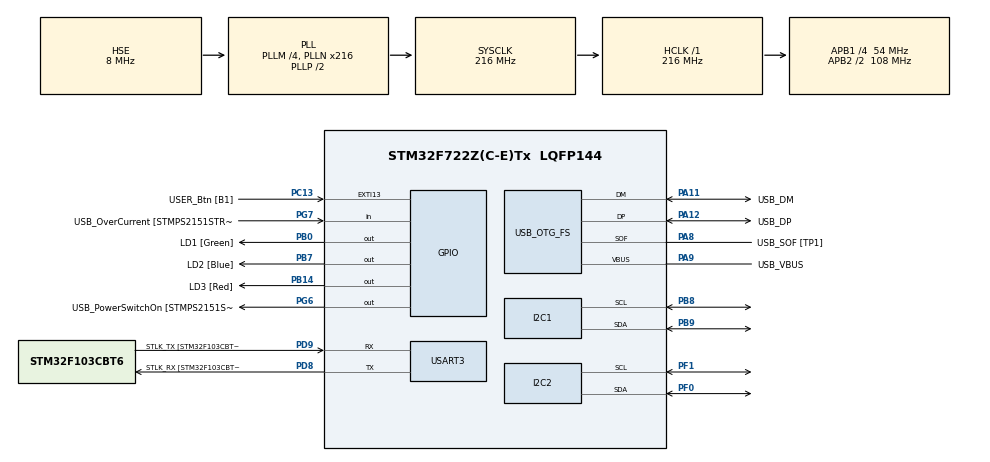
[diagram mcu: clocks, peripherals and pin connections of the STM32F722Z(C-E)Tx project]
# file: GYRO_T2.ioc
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Dma.I2C1_RX.0.Direction=DMA_PERIPH_TO_MEMORY
Dma.I2C1_RX.0.FIFOMode=DMA_FIFOMODE_DISABLE
Dma.I2C1_RX.0.Instance=DMA1_Stream0
Dma.I2C1_RX.0.MemDataAlignment=DMA_MDATAALIGN_BYTE
Dma.I2C1_RX.0.MemInc=DMA_MINC_DISABLE
Dma.I2C1_RX.0.Mode=DMA_CIRCULAR
Dma.I2C1_RX.0.PeriphDataAlignment=DMA_PDATAALIGN_BYTE
Dma.I2C1_RX.0.PeriphInc=DMA_PINC_DISABLE
Dma.I2C1_RX.0.Priority=DMA_PRIORITY_LOW
Dma.I2C1_TX.1.Direction=DMA_MEMORY_TO_PERIPH
Dma.I2C1_TX.1.FIFOMode=DMA_FIFOMODE_DISABLE
Dma.I2C1_TX.1.Instance=DMA1_Stream6
Dma.I2C1_TX.1.MemDataAlignment=DMA_MDATAALIGN_BYTE
Dma.I2C1_TX.1.MemInc=DMA_MINC_DISABLE
Dma.I2C1_TX.1.Mode=DMA_CIRCULAR
Dma.I2C1_TX.1.PeriphDataAlignment=DMA_PDATAALIGN_BYTE
Dma.I2C1_TX.1.PeriphInc=DMA_PINC_DISABLE
Dma.I2C1_TX.1.Priority=DMA_PRIORITY_LOW
Dma.I2C2_RX.2.Direction=DMA_PERIPH_TO_MEMORY
Dma.I2C2_RX.2.FIFOMode=DMA_FIFOMODE_DISABLE
Dma.I2C2_RX.2.Instance=DMA1_Stream2
Dma.I2C2_RX.2.MemDataAlignment=DMA_MDATAALIGN_BYTE
Dma.I2C2_RX.2.MemInc=DMA_MINC_ENABLE
Dma.I2C2_RX.2.Mode=DMA_CIRCULAR
Dma.I2C2_RX.2.PeriphDataAlignment=DMA_PDATAALIGN_BYTE
Dma.I2C2_RX.2.PeriphInc=DMA_PINC_DISABLE
Dma.I2C2_RX.2.Priority=DMA_PRIORITY_LOW
Dma.I2C2_TX.3.Direction=DMA_MEMORY_TO_PERIPH
Dma.I2C2_TX.3.FIFOMode=DMA_FIFOMODE_DISABLE
Dma.I2C2_TX.3.Instance=DMA1_Stream7
Dma.I2C2_TX.3.MemDataAlignment=DMA_MDATAALIGN_BYTE
Dma.I2C2_TX.3.MemInc=DMA_MINC_ENABLE
Dma.I2C2_TX.3.Mode=DMA_CIRCULAR
Dma.I2C2_TX.3.PeriphDataAlignment=DMA_PDATAALIGN_BYTE
Dma.I2C2_TX.3.PeriphInc=DMA_PINC_DISABLE
Dma.I2C2_TX.3.Priority=DMA_PRIORITY_LOW
Dma.Request0=I2C1_RX
Dma.Request1=I2C1_TX
Dma.Request2=I2C2_RX
Dma.Request3=I2C2_TX
I2C1.Timing=0x20404768
I2C2.Timing=0x20404768
Mcu.Family=STM32F7
Mcu.Name=STM32F722Z(C-E)Tx
Mcu.Package=LQFP144
NVIC.DMA1_Stream0_IRQn=true\:0\:0\:false\:false\:true\:false\:true\:true
NVIC.DMA1_Stream2_IRQn=true\:0\:0\:false\:false\:true\:false\:true\:true
NVIC.DMA1_Stream6_IRQn=true\:0\:0\:false\:false\:true\:false\:true\:true
NVIC.DMA1_Stream7_IRQn=true\:0\:0\:false\:false\:true\:false\:true\:true
NVIC.PriorityGroup=NVIC_PRIORITYGROUP_4
PA10.GPIO_Label=USB_ID
PA10.Signal=USB_OTG_FS_ID
PA11.GPIO_Label=USB_DM
PA11.Mode=Device_Only
PA11.Signal=USB_OTG_FS_DM
PA12.GPIO_Label=USB_DP
PA12.Mode=Device_Only
PA12.Signal=USB_OTG_FS_DP
PA13.GPIO_Label=TMS
PA13.Mode=Serial_Wire
PA13.Signal=SYS_JTMS-SWDIO
PA14.GPIO_Label=TCK
PA14.Mode=Serial_Wire
PA14.Signal=SYS_JTCK-SWCLK
PA8.GPIO_Label=USB_SOF [TP1]
PA8.Mode=Activate_SOF_FS
PA8.Signal=USB_OTG_FS_SOF
PA9.GPIO_Label=USB_VBUS
PA9.Mode=Activate_VBUS
PA9.Signal=USB_OTG_FS_VBUS
PB0.GPIO_Label=LD1 [Green]
PB0.Signal=GPIO_Output
PB14.GPIO_Label=LD3 [Red]
PB14.Signal=GPIO_Output
PB3.GPIO_Label=SWO
PB3.Signal=SYS_JTDO-SWO
PB7.GPIO_Label=LD2 [Blue]
PB7.Signal=GPIO_Output
PB8.Mode=I2C
PB8.Signal=I2C1_SCL
PB9.Mode=I2C
PB9.Signal=I2C1_SDA
PC13.GPIO_Label=USER_Btn [B1]
PC13.Signal=GPXTI13
PC14-OSC32_IN.Mode=LSE-External-Oscillator
PC14-OSC32_IN.Signal=RCC_OSC32_IN
PC15-OSC32_OUT.Mode=LSE-External-Oscillator
PC15-OSC32_OUT.Signal=RCC_OSC32_OUT
PD8.GPIO_Label=STLK_RX [STM32F103CBT6_PA3]
PD8.Mode=Asynchronous
PD8.Signal=USART3_TX
PD9.GPIO_Label=STLK_TX [STM32F103CBT6_PA2]
PD9.Mode=Asynchronous
PD9.Signal=USART3_RX
PF0.Mode=I2C
PF0.Signal=I2C2_SDA
PF1.Mode=I2C
PF1.Signal=I2C2_SCL
PG6.GPIO_Label=USB_PowerSwitchOn [STMPS2151STR_EN]
PG6.Signal=GPIO_Output
PG7.GPIO_Label=USB_OverCurrent [STMPS2151STR_FAULT]
PG7.Signal=GPIO_Input
PH0-OSC_IN.GPIO_Label=MCO
PH0-OSC_IN.Mode=HSE-External-Clock-Source
PH0-OSC_IN.Signal=RCC_OSC_IN
PH1-OSC_OUT.Mode=HSE-External-Clock-Source
PH1-OSC_OUT.Signal=RCC_OSC_OUT
ProjectManager.HeapSize=0x200
ProjectManager.StackSize=0x400
ProjectManager.TargetToolchain=STM32CubeIDE
RCC.48MHZClocksFreq_Value=24000000
RCC.AHBFreq_Value=216000000
RCC.APB1CLKDivider=RCC_HCLK_DIV4
RCC.APB1Freq_Value=54000000
RCC.APB1TimFreq_Value=108000000
RCC.APB2CLKDivider=RCC_HCLK_DIV2
RCC.APB2Freq_Value=108000000
RCC.APB2TimFreq_Value=216000000
RCC.CortexFreq_Value=216000000
RCC.HCLKFreq_Value=216000000
RCC.HSE_VALUE=8000000
RCC.HSI_VALUE=16000000
RCC.PLLM=4
RCC.PLLMUL=RCC_PLL_MUL9
RCC.PLLN=216
RCC.PLLQ=9
RCC.PRESCALERUSB=RCC_USBCLKSOURCE_PLL_DIV1_5
RCC.SYSCLKFreq_VALUE=216000000
RCC.SYSCLKSource=RCC_SYSCLKSOURCE_PLLCLK
RCC.SYSCLKSourceVirtual=RCC_SYSCLKSOURCE_PLLCLK
RCC.USBFreq_Value=48000000
RCC.VCOOutputFreq_Value=432000000
USART3.VirtualMode-Asynchronous=VM_ASYNC
USB_OTG_FS.VirtualMode=Device_Only
board=NUCLEO-F722ZE

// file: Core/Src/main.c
/* USER CODE BEGIN Header */
/**
  ******************************************************************************
  * @file           : main.c
  * @brief          : Main program body
  ******************************************************************************
  * @attention
  *
  * Copyright (c) 2023 STMicroelectronics.
  * All rights reserved.
  *
  * This software is licensed under terms that can be found in the LICENSE file
  * in the root directory of this software component.
  * If no LICENSE file comes with this software, it is provided AS-IS.
  *
  ******************************************************************************
  */
/* USER CODE END Header */
#include "main.h"

/* USER CODE BEGIN Includes */
#include <stdio.h>
/* USER CODE END Includes */

I2C_HandleTypeDef hi2c1;
I2C_HandleTypeDef hi2c2;
DMA_HandleTypeDef hdma_i2c1_rx;
DMA_HandleTypeDef hdma_i2c1_tx;
DMA_HandleTypeDef hdma_i2c2_rx;
DMA_HandleTypeDef hdma_i2c2_tx;

UART_HandleTypeDef huart3;

PCD_HandleTypeDef hpcd_USB_OTG_FS;

/* USER CODE BEGIN PV */
uint8_t i2c_dat[10];

/* USER CODE END PV */

void SystemClock_Config(void);
static void MX_GPIO_Init(void);
static void MX_DMA_Init(void);
static void MX_USB_OTG_FS_PCD_Init(void);
static void MX_USART3_UART_Init(void);
static void MX_I2C1_Init(void);
static void MX_I2C2_Init(void);
/* USER CODE BEGIN PFP */
#define MPU6050_ADDR		0xD0

#define SMPLRT_DIV_REG		0x19
#define GYRO_CONFIG_REG		0x1B
#define ACCEL_CONFIG_REG	0x1C
#define ACCEL_XOUT_H_REG	0x3B
#define TEMP_OUT_H_REG		0x41
#define GYRO_XOUT_H_REG		0x43
#define PWR_MGMT_1_REG		0x6B
#define WHO_AM_I_REG		0x75

/* USER CODE END PFP */

int main(void)
{

  /* MCU Configuration--------------------------------------------------------*/

  /* Reset of all peripherals, Initializes the Flash interface and the Systick. */
  HAL_Init();

  /* Configure the system clock */
  SystemClock_Config();

  /* Initialize all configured peripherals */
  MX_GPIO_Init();
  MX_DMA_Init();
  MX_USB_OTG_FS_PCD_Init();
  MX_USART3_UART_Init();
  MX_I2C1_Init();
  MX_I2C2_Init();
  /* USER CODE BEGIN 2 */
  HAL_StatusTypeDef ret_val = HAL_ERROR;

  HAL_I2C_Mem_Read( &hi2c2, MPU6050_ADDR, WHO_AM_I_REG, 1, i2c_dat, 1, 1000 );

  if( i2c_dat[0] == 104 ){
	  ret_val = HAL_OK;
	  i2c_dat[0] = 0x00;
	  if( HAL_I2C_Mem_Write( &hi2c2, MPU6050_ADDR, PWR_MGMT_1_REG, 1, i2c_dat, 1, 1000 ) != HAL_OK ) ret_val = HAL_ERROR;
	  // set data rate of 1kHz
	  i2c_dat[0] = 0x07;
	  if( HAL_I2C_Mem_Write( &hi2c2, MPU6050_ADDR, SMPLRT_DIV_REG, 1, i2c_dat, 1, 1000 ) != HAL_OK ) ret_val = HAL_ERROR;
	  // set accel config
	  // XA_ST = 0, YA_ST = 0, ZA_ST = 0, FS_SEL = 0 -> +- 2g
	  i2c_dat[0] = 0x00;
	  if( HAL_I2C_Mem_Write( &hi2c2, MPU6050_ADDR, ACCEL_CONFIG_REG, 1, i2c_dat, 1, 1000 ) != HAL_OK ) ret_val = HAL_ERROR;
	  // set gyro config
	  // XG_ST = 0; YG_ST = 0; ZG_ST = 0; FS_SEL = 0 -> +- 250 o/s
	  i2c_dat[0] = 0x00;
	  if( HAL_I2C_Mem_Write( &hi2c2, MPU6050_ADDR, GYRO_XOUT_H_REG, 1, i2c_dat, 1, 1000 ) != HAL_OK ) ret_val = HAL_ERROR;
  }

  char _str[50];
  uint8_t _str_len;
  if( ret_val != HAL_OK ) _str_len = sprintf(_str, "\r\nFail to init MPY6050.\r\n" );
  else _str_len = sprintf(_str, "\r\nSuccess to init MPY6050.\r\n" );
  HAL_UART_Transmit( &huart3, (uint8_t *)_str, _str_len, 100 );
  /* USER CODE END 2 */

  /* Infinite loop */
  while (1)
  {

    /* USER CODE BEGIN 3 */
	  HAL_I2C_Mem_Read( &hi2c2, MPU6050_ADDR, ACCEL_XOUT_H_REG, 1, i2c_dat, 6, 1000 );

	  int16_t raw_x = (int16_t)( i2c_dat[0] << 8 | i2c_dat[1] );
	  int16_t raw_y = (int16_t)( i2c_dat[2] << 8 | i2c_dat[3] );
	  int16_t raw_z = (int16_t)( i2c_dat[4] << 8 | i2c_dat[5] );

	  float ax = (float)raw_x/16384.0;
	  float ay = (float)raw_y/16384.0;
	  float az = (float)raw_z/16384.0;

	  _str_len = sprintf(_str, "Accel: ax:%.3f  ay:%.3f  az:%.3f     ", ax, ay, az );
	  HAL_UART_Transmit( &huart3, (uint8_t *)_str, _str_len, 100 );

	  HAL_I2C_Mem_Read( &hi2c2, MPU6050_ADDR, GYRO_XOUT_H_REG, 1, i2c_dat, 6, 1000 );

	  raw_x = (int16_t)( i2c_dat[0] << 8 | i2c_dat[1] );
	  raw_y = (int16_t)( i2c_dat[2] << 8 | i2c_dat[3] );
	  raw_z = (int16_t)( i2c_dat[4] << 8 | i2c_dat[5] );

	  float gx = (float)raw_x/131.0;
	  float gy = (float)raw_y/131.0;
	  float gz = (float)raw_z/131.0;

	  _str_len = sprintf(_str, "Gyro: gx:%.3f  gy:%.3f  gz:%.3f  ", gx, gy, gz );
	  HAL_UART_Transmit( &huart3, (uint8_t *)_str, _str_len, 100 );

	  HAL_GPIO_TogglePin( GPIOB, LD3_Pin );
	  HAL_Delay( 100 );
  }
  /* USER CODE END 3 */
}

void SystemClock_Config(void)
{
  RCC_OscInitTypeDef RCC_OscInitStruct = {0};
  RCC_ClkInitTypeDef RCC_ClkInitStruct = {0};

  /** Configure LSE Drive Capability
  */
  HAL_PWR_EnableBkUpAccess();

  /** Configure the main internal regulator output voltage
  */
  __HAL_RCC_PWR_CLK_ENABLE();
  __HAL_PWR_VOLTAGESCALING_CONFIG(PWR_REGULATOR_VOLTAGE_SCALE1);

  /** Initializes the RCC Oscillators according to the specified parameters
  * in the RCC_OscInitTypeDef structure.
  */
  RCC_OscInitStruct.OscillatorType = RCC_OSCILLATORTYPE_HSE;
  RCC_OscInitStruct.HSEState = RCC_HSE_BYPASS;
  RCC_OscInitStruct.PLL.PLLState = RCC_PLL_ON;
  RCC_OscInitStruct.PLL.PLLSource = RCC_PLLSOURCE_HSE;
  RCC_OscInitStruct.PLL.PLLM = 4;
  RCC_OscInitStruct.PLL.PLLN = 216;
  RCC_OscInitStruct.PLL.PLLP = RCC_PLLP_DIV2;
  RCC_OscInitStruct.PLL.PLLQ = 9;
  if (HAL_RCC_OscConfig(&RCC_OscInitStruct) != HAL_OK)
  {
    Error_Handler();
  }

  /** Activate the Over-Drive mode
  */
  if (HAL_PWREx_EnableOverDrive() != HAL_OK)
  {
    Error_Handler();
  }

  /** Initializes the CPU, AHB and APB buses clocks
  */
  RCC_ClkInitStruct.ClockType = RCC_CLOCKTYPE_HCLK|RCC_CLOCKTYPE_SYSCLK
                              |RCC_CLOCKTYPE_PCLK1|RCC_CLOCKTYPE_PCLK2;
  RCC_ClkInitStruct.SYSCLKSource = RCC_SYSCLKSOURCE_PLLCLK;
  RCC_ClkInitStruct.AHBCLKDivider = RCC_SYSCLK_DIV1;
  RCC_ClkInitStruct.APB1CLKDivider = RCC_HCLK_DIV4;
  RCC_ClkInitStruct.APB2CLKDivider = RCC_HCLK_DIV2;

  if (HAL_RCC_ClockConfig(&RCC_ClkInitStruct, FLASH_LATENCY_7) != HAL_OK)
  {
    Error_Handler();
  }
}

static void MX_I2C1_Init(void)
{

  hi2c1.Instance = I2C1;
  hi2c1.Init.Timing = 0x20404768;
  hi2c1.Init.OwnAddress1 = 0;
  hi2c1.Init.AddressingMode = I2C_ADDRESSINGMODE_7BIT;
  hi2c1.Init.DualAddressMode = I2C_DUALADDRESS_DISABLE;
  hi2c1.Init.OwnAddress2 = 0;
  hi2c1.Init.OwnAddress2Masks = I2C_OA2_NOMASK;
  hi2c1.Init.GeneralCallMode = I2C_GENERALCALL_DISABLE;
  hi2c1.Init.NoStretchMode = I2C_NOSTRETCH_DISABLE;
  if (HAL_I2C_Init(&hi2c1) != HAL_OK)
  {
    Error_Handler();
  }

  /** Configure Analogue filter
  */
  if (HAL_I2CEx_ConfigAnalogFilter(&hi2c1, I2C_ANALOGFILTER_ENABLE) != HAL_OK)
  {
    Error_Handler();
  }

  /** Configure Digital filter
  */
  if (HAL_I2CEx_ConfigDigitalFilter(&hi2c1, 0) != HAL_OK)
  {
    Error_Handler();
  }

}

static void MX_I2C2_Init(void)
{

  hi2c2.Instance = I2C2;
  hi2c2.Init.Timing = 0x20404768;
  hi2c2.Init.OwnAddress1 = 0;
  hi2c2.Init.AddressingMode = I2C_ADDRESSINGMODE_7BIT;
  hi2c2.Init.DualAddressMode = I2C_DUALADDRESS_DISABLE;
  hi2c2.Init.OwnAddress2 = 0;
  hi2c2.Init.OwnAddress2Masks = I2C_OA2_NOMASK;
  hi2c2.Init.GeneralCallMode = I2C_GENERALCALL_DISABLE;
  hi2c2.Init.NoStretchMode = I2C_NOSTRETCH_DISABLE;
  if (HAL_I2C_Init(&hi2c2) != HAL_OK)
  {
    Error_Handler();
  }

  /** Configure Analogue filter
  */
  if (HAL_I2CEx_ConfigAnalogFilter(&hi2c2, I2C_ANALOGFILTER_ENABLE) != HAL_OK)
  {
    Error_Handler();
  }

  /** Configure Digital filter
  */
  if (HAL_I2CEx_ConfigDigitalFilter(&hi2c2, 0) != HAL_OK)
  {
    Error_Handler();
  }

}

static void MX_USART3_UART_Init(void)
{

  huart3.Instance = USART3;
  huart3.Init.BaudRate = 115200;
  huart3.Init.WordLength = UART_WORDLENGTH_8B;
  huart3.Init.StopBits = UART_STOPBITS_1;
  huart3.Init.Parity = UART_PARITY_NONE;
  huart3.Init.Mode = UART_MODE_TX_RX;
  huart3.Init.HwFlowCtl = UART_HWCONTROL_NONE;
  huart3.Init.OverSampling = UART_OVERSAMPLING_16;
  huart3.Init.OneBitSampling = UART_ONE_BIT_SAMPLE_DISABLE;
  huart3.AdvancedInit.AdvFeatureInit = UART_ADVFEATURE_NO_INIT;
  if (HAL_UART_Init(&huart3) != HAL_OK)
  {
    Error_Handler();
  }

}

static void MX_USB_OTG_FS_PCD_Init(void)
{

  hpcd_USB_OTG_FS.Instance = USB_OTG_FS;
  hpcd_USB_OTG_FS.Init.dev_endpoints = 6;
  hpcd_USB_OTG_FS.Init.speed = PCD_SPEED_FULL;
  hpcd_USB_OTG_FS.Init.dma_enable = DISABLE;
  hpcd_USB_OTG_FS.Init.phy_itface = PCD_PHY_EMBEDDED;
  hpcd_USB_OTG_FS.Init.Sof_enable = ENABLE;
  hpcd_USB_OTG_FS.Init.low_power_enable = DISABLE;
  hpcd_USB_OTG_FS.Init.lpm_enable = DISABLE;
  hpcd_USB_OTG_FS.Init.battery_charging_enable = ENABLE;
  hpcd_USB_OTG_FS.Init.vbus_sensing_enable = ENABLE;
  hpcd_USB_OTG_FS.Init.use_dedicated_ep1 = DISABLE;
  if (HAL_PCD_Init(&hpcd_USB_OTG_FS) != HAL_OK)
  {
    Error_Handler();
  }

}

static void MX_DMA_Init(void)
{

  /* DMA controller clock enable */
  __HAL_RCC_DMA1_CLK_ENABLE();

  /* DMA interrupt init */
  /* DMA1_Stream0_IRQn interrupt configuration */
  HAL_NVIC_SetPriority(DMA1_Stream0_IRQn, 0, 0);
  HAL_NVIC_EnableIRQ(DMA1_Stream0_IRQn);
  /* DMA1_Stream2_IRQn interrupt configuration */
  HAL_NVIC_SetPriority(DMA1_Stream2_IRQn, 0, 0);
  HAL_NVIC_EnableIRQ(DMA1_Stream2_IRQn);
  /* DMA1_Stream6_IRQn interrupt configuration */
  HAL_NVIC_SetPriority(DMA1_Stream6_IRQn, 0, 0);
  HAL_NVIC_EnableIRQ(DMA1_Stream6_IRQn);
  /* DMA1_Stream7_IRQn interrupt configuration */
  HAL_NVIC_SetPriority(DMA1_Stream7_IRQn, 0, 0);
  HAL_NVIC_EnableIRQ(DMA1_Stream7_IRQn);

}

static void MX_GPIO_Init(void)
{
  GPIO_InitTypeDef GPIO_InitStruct = {0};

  /* GPIO Ports Clock Enable */
  __HAL_RCC_GPIOC_CLK_ENABLE();
  __HAL_RCC_GPIOF_CLK_ENABLE();
  __HAL_RCC_GPIOH_CLK_ENABLE();
  __HAL_RCC_GPIOB_CLK_ENABLE();
  __HAL_RCC_GPIOD_CLK_ENABLE();
  __HAL_RCC_GPIOG_CLK_ENABLE();
  __HAL_RCC_GPIOA_CLK_ENABLE();

  /*Configure GPIO pin Output Level */
  HAL_GPIO_WritePin(GPIOB, LD1_Pin|LD3_Pin|LD2_Pin, GPIO_PIN_RESET);

  /*Configure GPIO pin Output Level */
  HAL_GPIO_WritePin(USB_PowerSwitchOn_GPIO_Port, USB_PowerSwitchOn_Pin, GPIO_PIN_RESET);

  /*Configure GPIO pin : USER_Btn_Pin */
  GPIO_InitStruct.Pin = USER_Btn_Pin;
  GPIO_InitStruct.Mode = GPIO_MODE_IT_RISING;
  GPIO_InitStruct.Pull = GPIO_NOPULL;
  HAL_GPIO_Init(USER_Btn_GPIO_Port, &GPIO_InitStruct);

  /*Configure GPIO pins : LD1_Pin LD3_Pin LD2_Pin */
  GPIO_InitStruct.Pin = LD1_Pin|LD3_Pin|LD2_Pin;
  GPIO_InitStruct.Mode = GPIO_MODE_OUTPUT_PP;
  GPIO_InitStruct.Pull = GPIO_NOPULL;
  GPIO_InitStruct.Speed = GPIO_SPEED_FREQ_LOW;
  HAL_GPIO_Init(GPIOB, &GPIO_InitStruct);

  /*Configure GPIO pin : USB_PowerSwitchOn_Pin */
  GPIO_InitStruct.Pin = USB_PowerSwitchOn_Pin;
  GPIO_InitStruct.Mode = GPIO_MODE_OUTPUT_PP;
  GPIO_InitStruct.Pull = GPIO_NOPULL;
  GPIO_InitStruct.Speed = GPIO_SPEED_FREQ_LOW;
  HAL_GPIO_Init(USB_PowerSwitchOn_GPIO_Port, &GPIO_InitStruct);

  /*Configure GPIO pin : USB_OverCurrent_Pin */
  GPIO_InitStruct.Pin = USB_OverCurrent_Pin;
  GPIO_InitStruct.Mode = GPIO_MODE_INPUT;
  GPIO_InitStruct.Pull = GPIO_NOPULL;
  HAL_GPIO_Init(USB_OverCurrent_GPIO_Port, &GPIO_InitStruct);

}

void Error_Handler(void)
{
  __disable_irq();
  while (1)
  {
  }
}
